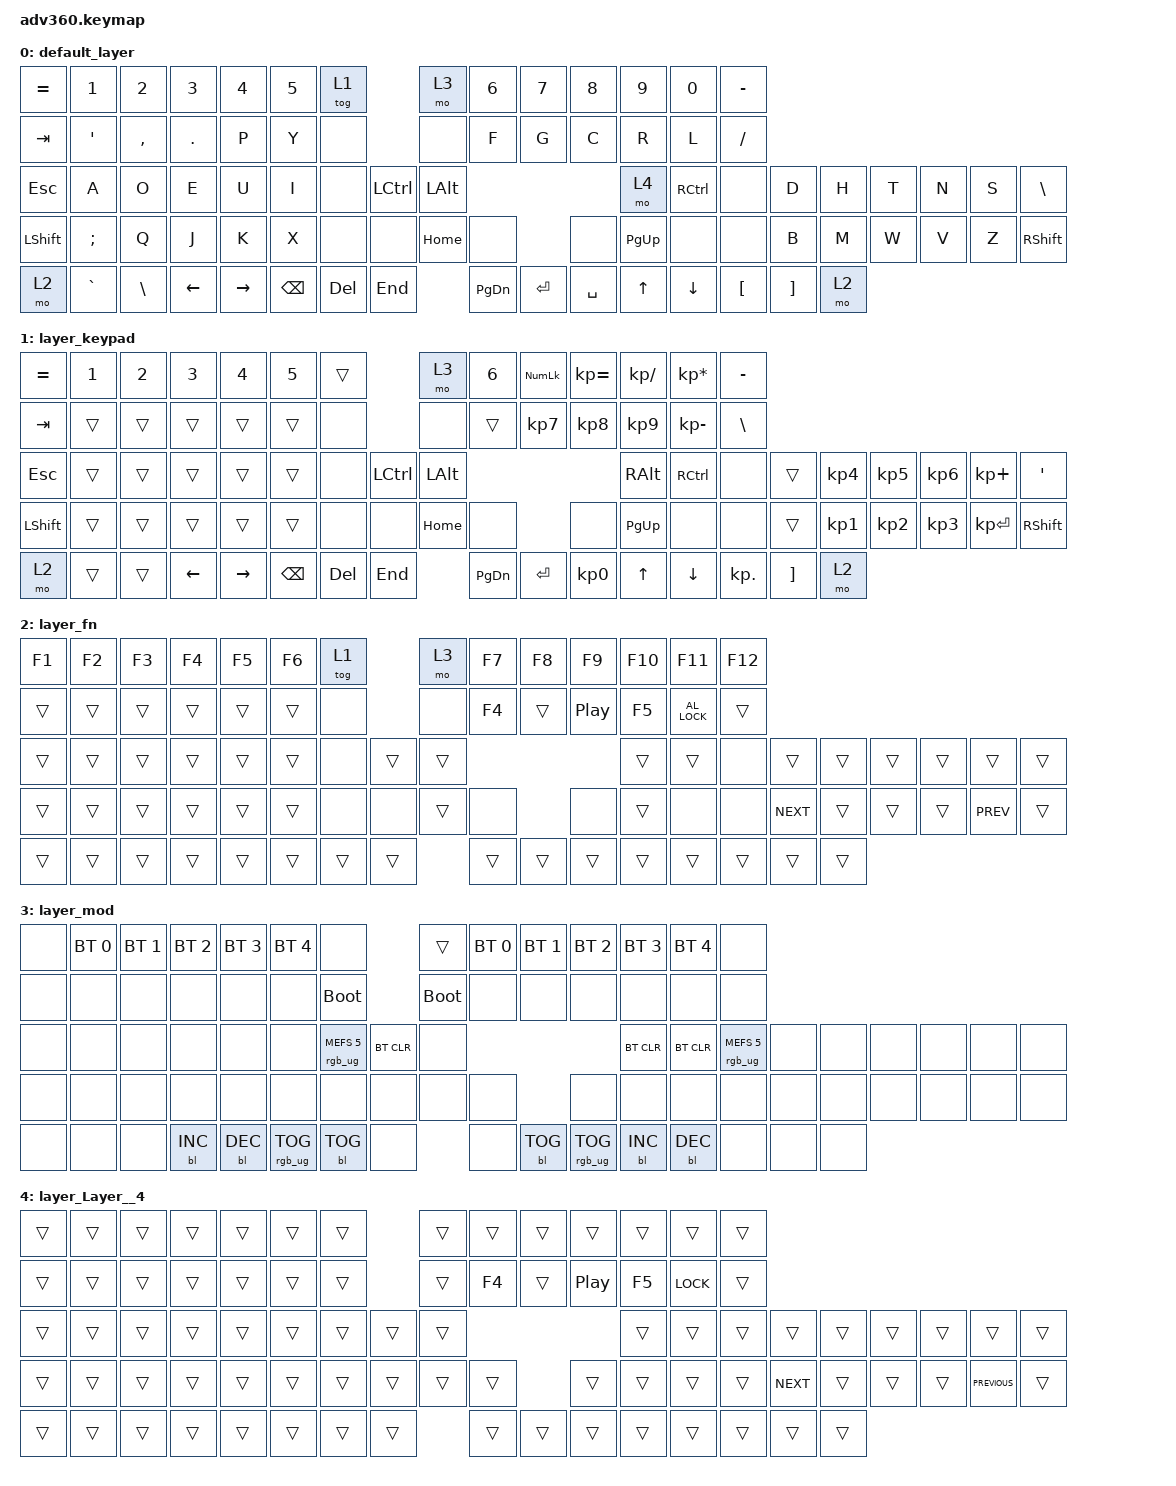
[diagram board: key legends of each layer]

/*
 * Copyright (c) 2020 The ZMK Contributors
 *
 * SPDX-License-Identifier: MIT
 */


/* THIS FILE WAS GENERATED!
 *
 * This file was generated automatically. You may or may not want to
 * edit it directly.
 */

#include <behaviors.dtsi>
#include <dt-bindings/zmk/keys.h>
#include <dt-bindings/zmk/bt.h>
#include <dt-bindings/zmk/rgb.h>
#include <dt-bindings/zmk/backlight.h>

/ {
  behaviors {
    #include "macros.dtsi"

    hm: homerow_mods {
        compatible = "zmk,behavior-hold-tap";
        label = "HOMEROW_MODS";
        #binding-cells = <2>;
        tapping-term-ms = <200>;
        quick_tap_ms = <175>;
        flavor = "tap-preferred";
        bindings = <&kp>, <&kp>;
    };
  };

    keymap {
        compatible = "zmk,keymap";


        default_layer {
            bindings = <
 &kp EQUAL            &kp N1         &kp N2      &kp N3     &kp N4    &kp N5             &tog 1      &mo 3     &kp N6     &kp N7     &kp N8     &kp N9     &kp N0  &kp MINUS
   &kp TAB  &kp SINGLE_QUOTE      &kp COMMA  &kp PERIOD      &kp P     &kp Y              &none      &none      &kp F      &kp G      &kp C      &kp R      &kp L  &kp SLASH
   &kp ESC             &kp A          &kp O       &kp E      &kp U     &kp I              &none  &kp LCTRL   &kp LALT                            &mo 4  &kp RCTRL      &none     &kp D   &kp H   &kp T   &kp N   &kp S  &kp BACKSLASH
 &kp LSHFT     &kp SEMICOLON          &kp Q       &kp J      &kp K     &kp X              &none      &none   &kp HOME      &none      &none  &kp PG_UP      &none      &none     &kp B   &kp M   &kp W   &kp V   &kp Z      &kp RSHFT
     &mo 2         &kp GRAVE  &kp BACKSLASH    &kp LEFT  &kp RIGHT  &kp BSPC            &kp DEL    &kp END  &kp PG_DN  &kp ENTER  &kp SPACE     &kp UP   &kp DOWN   &kp LBKT  &kp RBKT   &mo 2
            >;
        };

        layer_keypad {
            bindings = <
 &kp EQUAL  &kp N1  &kp N2    &kp N3     &kp N4    &kp N5             &trans      &mo 3     &kp N6  &kp KP_NUM  &kp KP_EQUAL  &kp KP_DIVIDE  &kp KP_MULTIPLY   &kp MINUS
   &kp TAB  &trans  &trans    &trans     &trans    &trans              &none      &none     &trans   &kp KP_N7     &kp KP_N8      &kp KP_N9     &kp KP_MINUS    &kp BSLH
   &kp ESC  &trans  &trans    &trans     &trans    &trans              &none  &kp LCTRL   &kp LALT                                 &kp RALT        &kp RCTRL       &none    &trans  &kp KP_N4  &kp KP_N5  &kp KP_N6   &kp KP_PLUS    &kp SQT
 &kp LSHFT  &trans  &trans    &trans     &trans    &trans              &none      &none   &kp HOME       &none         &none      &kp PG_UP            &none       &none    &trans  &kp KP_N1  &kp KP_N2  &kp KP_N3  &kp KP_ENTER  &kp RSHFT
     &mo 2  &trans  &trans  &kp LEFT  &kp RIGHT  &kp BSPC            &kp DEL    &kp END  &kp PG_DN   &kp ENTER     &kp KP_N0         &kp UP         &kp DOWN  &kp KP_DOT  &kp RBKT      &mo 2
            >;
        };

        layer_fn {
            bindings = <
 &kp F1  &kp F2  &kp F3  &kp F4  &kp F5  &kp F6            &tog 1   &mo 3  &kp F7  &kp F8            &kp F9  &kp F10        &kp F11  &kp F12
 &trans  &trans  &trans  &trans  &trans  &trans             &none   &none  &kp F4  &trans  &kp C_PLAY_PAUSE   &kp F5  &kp C_AL_LOCK   &trans
 &trans  &trans  &trans  &trans  &trans  &trans             &none  &trans  &trans                             &trans         &trans    &none      &trans  &trans  &trans  &trans      &trans  &trans
 &trans  &trans  &trans  &trans  &trans  &trans             &none   &none  &trans   &none             &none   &trans          &none    &none  &kp C_NEXT  &trans  &trans  &trans  &kp C_PREV  &trans
 &trans  &trans  &trans  &trans  &trans  &trans            &trans  &trans  &trans  &trans            &trans   &trans         &trans   &trans      &trans  &trans
            >;
        };

        layer_mod {
            bindings = <
  &none  &bt BT_SEL 0  &bt BT_SEL 1  &bt BT_SEL 2  &bt BT_SEL 3     &bt BT_SEL 4                             &none       &trans  &bt BT_SEL 0  &bt BT_SEL 1     &bt BT_SEL 2  &bt BT_SEL 3  &bt BT_SEL 4                   &none
  &none         &none         &none         &none         &none            &none                       &bootloader  &bootloader         &none         &none            &none         &none         &none                   &none
  &none         &none         &none         &none         &none            &none            &rgb_ug RGB_MEFS_CMD 5   &bt BT_CLR         &none                                   &bt BT_CLR    &bt BT_CLR  &rgb_ug RGB_MEFS_CMD 5   &none   &none   &none   &none   &none   &none
  &none         &none         &none         &none         &none            &none                             &none        &none         &none         &none            &none         &none         &none                   &none   &none   &none   &none   &none   &none   &none
  &none         &none         &none    &bl BL_INC    &bl BL_DEC  &rgb_ug RGB_TOG                        &bl BL_TOG        &none         &none    &bl BL_TOG  &rgb_ug RGB_TOG    &bl BL_INC    &bl BL_DEC                   &none   &none   &none
            >;
        };

        layer_Layer__4 {
            bindings = <
 &trans  &trans  &trans  &trans  &trans  &trans            &trans  &trans  &trans  &trans    &trans  &trans      &trans  &trans
 &trans  &trans  &trans  &trans  &trans  &trans            &trans  &trans  &kp F4  &trans  &kp C_PP  &kp F5  &kp K_LOCK  &trans
 &trans  &trans  &trans  &trans  &trans  &trans            &trans  &trans  &trans                    &trans      &trans  &trans      &trans  &trans  &trans  &trans          &trans  &trans
 &trans  &trans  &trans  &trans  &trans  &trans            &trans  &trans  &trans  &trans    &trans  &trans      &trans  &trans  &kp C_NEXT  &trans  &trans  &trans  &kp C_PREVIOUS  &trans
 &trans  &trans  &trans  &trans  &trans  &trans            &trans  &trans  &trans  &trans    &trans  &trans      &trans  &trans      &trans  &trans
            >;
        };

    };
};
